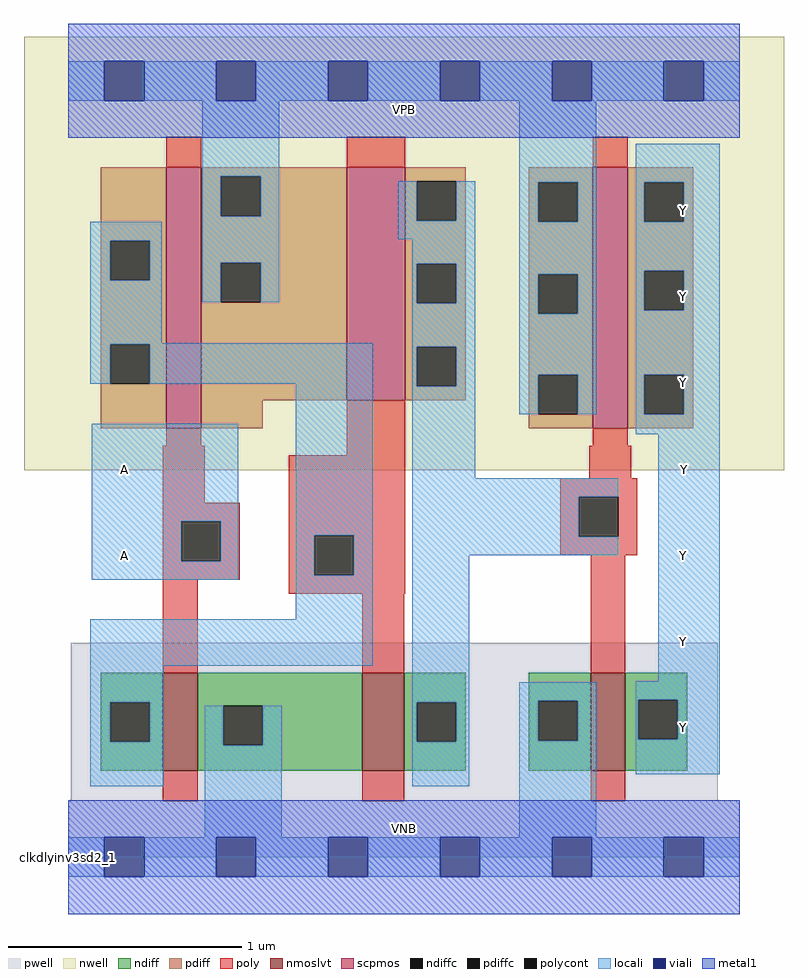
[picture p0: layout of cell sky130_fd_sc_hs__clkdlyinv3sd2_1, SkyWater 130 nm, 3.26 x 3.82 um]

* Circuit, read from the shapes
.subckt sky130_fd_sc_hs__clkdlyinv3sd2_1 A VGND VNB VPB VPWR Y
XM1 VGND A n1 VNB sky130_fd_pr__nfet_01v8_lvt w=0.42 l=0.15
XM2 n2 n1 VGND VNB sky130_fd_pr__nfet_01v8_lvt w=0.42 l=0.18
XM3 Y n2 VGND VNB sky130_fd_pr__nfet_01v8_lvt w=0.42 l=0.15
XM4 VPWR A n1 VPB sky130_fd_pr__pfet_01v8 w=1.12 l=0.15
XM5 n2 n1 VPWR VPB sky130_fd_pr__pfet_01v8 w=1 l=0.25
XM6 Y n2 VPWR VPB sky130_fd_pr__pfet_01v8 w=1.12 l=0.15
.ends

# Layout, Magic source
magic
tech sky130A
magscale 1 2
<< nwell >>
rect -38 332 614 704
<< pwell >>
rect 2 49 557 184
rect 0 0 576 49
<< scpmos >>
rect 84 368 114 592
rect 239 392 289 592
rect 450 368 480 592
<< nmoslvt >>
rect 81 74 111 158
rect 252 74 288 158
rect 448 74 478 158
<< ndiff >>
rect 28 133 81 158
rect 28 99 36 133
rect 70 99 81 133
rect 28 74 81 99
rect 111 130 252 158
rect 111 96 133 130
rect 167 96 252 130
rect 111 74 252 96
rect 288 133 341 158
rect 288 99 299 133
rect 333 99 341 133
rect 288 74 341 99
rect 395 134 448 158
rect 395 100 403 134
rect 437 100 448 134
rect 395 74 448 100
rect 478 135 531 158
rect 478 101 489 135
rect 523 101 531 135
rect 478 74 531 101
<< pdiff >>
rect 28 529 84 592
rect 28 495 36 529
rect 70 495 84 529
rect 28 440 84 495
rect 28 406 36 440
rect 70 406 84 440
rect 28 368 84 406
rect 114 584 239 592
rect 114 550 131 584
rect 165 550 239 584
rect 114 510 239 550
rect 114 476 131 510
rect 165 476 239 510
rect 114 392 239 476
rect 289 580 341 592
rect 289 546 299 580
rect 333 546 341 580
rect 289 509 341 546
rect 289 475 299 509
rect 333 475 341 509
rect 289 438 341 475
rect 289 404 299 438
rect 333 404 341 438
rect 289 392 341 404
rect 395 579 450 592
rect 395 545 403 579
rect 437 545 450 579
rect 395 500 450 545
rect 395 466 403 500
rect 437 466 450 500
rect 395 414 450 466
rect 114 368 167 392
rect 395 380 403 414
rect 437 380 450 414
rect 395 368 450 380
rect 480 579 536 592
rect 480 545 494 579
rect 528 545 536 579
rect 480 503 536 545
rect 480 469 494 503
rect 528 469 536 503
rect 480 414 536 469
rect 480 380 494 414
rect 528 380 536 414
rect 480 368 536 380
<< ndiffc >>
rect 36 99 70 133
rect 133 96 167 130
rect 299 99 333 133
rect 403 100 437 134
rect 489 101 523 135
<< pdiffc >>
rect 36 495 70 529
rect 36 406 70 440
rect 131 550 165 584
rect 131 476 165 510
rect 299 546 333 580
rect 299 475 333 509
rect 299 404 333 438
rect 403 545 437 579
rect 403 466 437 500
rect 403 380 437 414
rect 494 545 528 579
rect 494 469 528 503
rect 494 380 528 414
<< poly >>
rect 84 592 114 618
rect 239 592 289 618
rect 450 592 480 618
rect 84 353 114 368
rect 81 304 117 353
rect 239 345 289 392
rect 450 353 480 368
rect 81 288 147 304
rect 81 254 97 288
rect 131 254 147 288
rect 81 238 147 254
rect 189 276 289 345
rect 447 325 483 353
rect 189 242 211 276
rect 245 242 289 276
rect 422 309 488 325
rect 422 275 438 309
rect 472 275 488 309
rect 422 259 488 275
rect 81 158 111 238
rect 189 226 289 242
rect 252 158 288 226
rect 448 158 478 259
rect 81 48 111 74
rect 252 48 288 74
rect 448 48 478 74
<< polycont >>
rect 97 254 131 288
rect 211 242 245 276
rect 438 275 472 309
<< locali >>
rect 0 649 31 683
rect 65 649 127 683
rect 161 649 223 683
rect 257 649 319 683
rect 353 649 415 683
rect 449 649 511 683
rect 545 649 576 683
rect 115 584 181 649
rect 115 550 131 584
rect 165 550 181 584
rect 19 529 80 545
rect 19 495 36 529
rect 70 495 80 529
rect 19 441 80 495
rect 115 510 181 550
rect 283 546 299 580
rect 333 546 349 580
rect 283 530 349 546
rect 115 476 131 510
rect 165 476 181 510
rect 295 509 349 530
rect 295 475 299 509
rect 333 475 349 509
rect 19 440 261 441
rect 19 406 36 440
rect 70 406 261 440
rect 20 288 146 372
rect 20 254 97 288
rect 131 254 146 288
rect 20 238 146 254
rect 195 276 261 406
rect 195 242 211 276
rect 245 242 261 276
rect 195 204 261 242
rect 19 164 261 204
rect 295 438 349 475
rect 295 404 299 438
rect 333 404 349 438
rect 295 325 349 404
rect 387 579 453 649
rect 387 545 403 579
rect 437 545 453 579
rect 387 500 453 545
rect 387 466 403 500
rect 437 466 453 500
rect 387 414 453 466
rect 387 380 403 414
rect 437 380 453 414
rect 487 579 559 612
rect 487 545 494 579
rect 528 545 559 579
rect 487 503 559 545
rect 487 469 494 503
rect 528 469 559 503
rect 487 414 559 469
rect 487 380 494 414
rect 528 380 559 414
rect 487 363 559 380
rect 295 309 472 325
rect 295 275 438 309
rect 295 259 472 275
rect 19 133 82 164
rect 19 99 36 133
rect 70 99 82 133
rect 295 133 344 259
rect 506 151 559 363
rect 19 61 82 99
rect 117 96 133 130
rect 167 96 183 130
rect 117 17 183 96
rect 295 99 299 133
rect 333 99 344 133
rect 295 61 344 99
rect 387 134 453 150
rect 387 100 403 134
rect 437 100 453 134
rect 387 17 453 100
rect 487 135 559 151
rect 487 101 489 135
rect 523 101 559 135
rect 487 71 559 101
rect 0 -17 31 17
rect 65 -17 127 17
rect 161 -17 223 17
rect 257 -17 319 17
rect 353 -17 415 17
rect 449 -17 511 17
rect 545 -17 576 17
<< viali >>
rect 31 649 65 683
rect 127 649 161 683
rect 223 649 257 683
rect 319 649 353 683
rect 415 649 449 683
rect 511 649 545 683
rect 31 -17 65 17
rect 127 -17 161 17
rect 223 -17 257 17
rect 319 -17 353 17
rect 415 -17 449 17
rect 511 -17 545 17
<< metal1 >>
rect 0 683 576 715
rect 0 649 31 683
rect 65 649 127 683
rect 161 649 223 683
rect 257 649 319 683
rect 353 649 415 683
rect 449 649 511 683
rect 545 649 576 683
rect 0 617 576 649
rect 0 17 576 49
rect 0 -17 31 17
rect 65 -17 127 17
rect 161 -17 223 17
rect 257 -17 319 17
rect 353 -17 415 17
rect 449 -17 511 17
rect 545 -17 576 17
rect 0 -49 576 -17
<< labels >>
rlabel comment s 0 0 0 0 4 clkdlyinv3sd2_1
flabel pwell s 0 0 576 49 0 FreeSans 200 0 0 0 VNB
port 3 nsew ground bidirectional
flabel nwell s 0 617 576 666 0 FreeSans 200 0 0 0 VPB
port 4 nsew power bidirectional
flabel metal1 s 0 0 576 49 0 FreeSans 340 0 0 0 VGND
port 2 nsew ground bidirectional
flabel metal1 s 0 617 576 666 0 FreeSans 340 0 0 0 VPWR
port 5 nsew power bidirectional
flabel locali s 31 242 65 276 0 FreeSans 340 0 0 0 A
port 1 nsew signal input
flabel locali s 31 316 65 350 0 FreeSans 340 0 0 0 A
port 1 nsew signal input
flabel locali s 512 316 546 350 0 FreeSans 200 0 0 0 Y
port 6 nsew signal output
flabel locali s 511 464 545 498 0 FreeSans 200 0 0 0 Y
port 6 nsew signal output
flabel locali s 511 390 545 424 0 FreeSans 200 0 0 0 Y
port 6 nsew signal output
flabel locali s 511 168 545 202 0 FreeSans 200 0 0 0 Y
port 6 nsew signal output
flabel locali s 511 94 545 128 0 FreeSans 200 0 0 0 Y
port 6 nsew signal output
flabel locali s 511 242 545 276 0 FreeSans 200 0 0 0 Y
port 6 nsew signal output
flabel locali s 511 538 545 572 0 FreeSans 200 0 0 0 Y
port 6 nsew signal output
<< properties >>
string LEFsite unit
string LEFclass CORE
string FIXED_BBOX 0 0 576 666
string GDS_FILE $PDKPATH/libs.ref/sky130_fd_sc_hs/gds/sky130_fd_sc_hs.gds
string LEFsymmetry X Y
string GDS_END 3088138
string GDS_START 3082326
<< end >>
